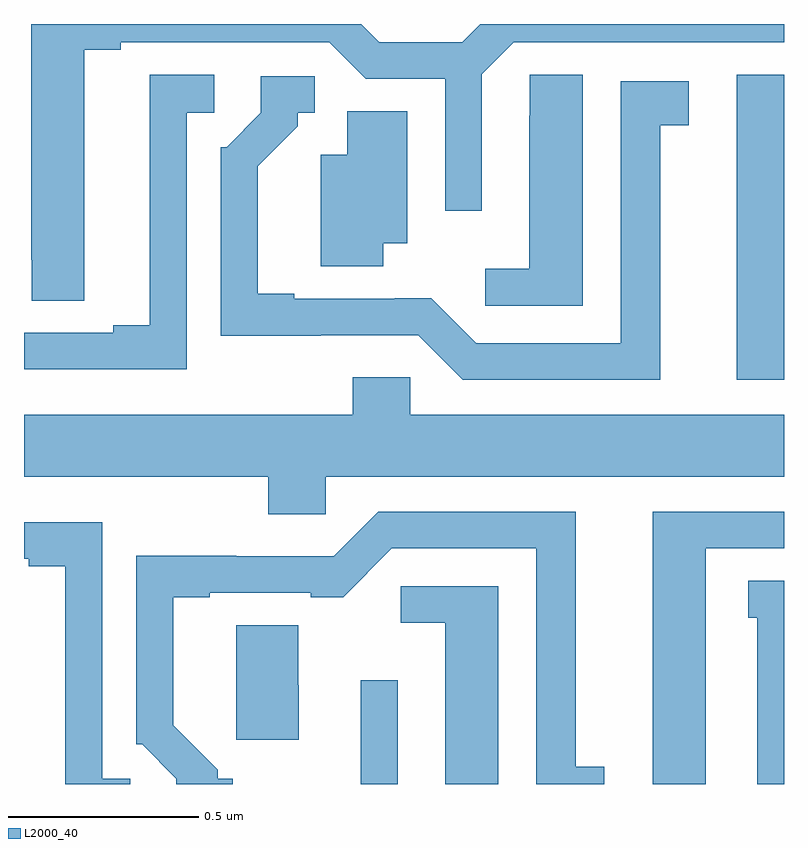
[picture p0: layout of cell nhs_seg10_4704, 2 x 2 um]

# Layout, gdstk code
import gdstk
lib = gdstk.Library(unit=1e-6, precision=1e-09)
def R(c, l, rs):  # rectangles x0, y0, x1, y1
    for r in rs: c.add(gdstk.rectangle(r[:2], r[2:], *l))
def P(c, l, *ps):  # polygons
    for p in ps: c.add(gdstk.Polygon(p, *l))
L2000_40 = (2000, 40)

nhs_seg10_4704 = lib.new_cell('nhs_seg10_4704')
R(nhs_seg10_4704, L2000_40, [(169.886,1307.5,169.983,1307.773), (170.876,1308.564,171,1309.366)])
P(nhs_seg10_4704, L2000_40, [(169.159,1309.432),(169.255,1309.432),(169.255,1309.452),(169.803,1309.452),(169.899,1309.356),(170.109,1309.356),(170.109,1309.008),(170.205,1309.008),(170.205,1309.368),(170.289,1309.452),(171,1309.452),(171,1309.5),(170.201,1309.5),(170.153,1309.452),(169.935,1309.452),(169.887,1309.5),(169.019,1309.5),(169.019,1308.88),(169.02,1308.88),(169.02,1308.772),(169.159,1308.772)],
  [(169.428,1309.266),(169.501,1309.266),(169.501,1309.367),(169.331,1309.367),(169.331,1308.707),(169.235,1308.707),(169.235,1308.687),(169,1308.687),(169,1308.591),(169.428,1308.591)],
  [(170.47,1309.367),(170.331,1309.367),(170.331,1309.259),(170.33,1309.259),(170.33,1308.856),(170.214,1308.856),(170.214,1308.759),(170.47,1308.759)],
  [(170.674,1309.234),(170.749,1309.234),(170.749,1309.35),(170.57,1309.35),(170.57,1308.66),(170.19,1308.66),(170.072,1308.778),(169.976,1308.778),(169.976,1308.777),(169.711,1308.777),(169.711,1308.79),(169.615,1308.79),(169.615,1309.126),(169.72,1309.231),(169.72,1309.266),(169.765,1309.266),(169.765,1309.362),(169.623,1309.362),(169.623,1309.266),(169.533,1309.176),(169.518,1309.176),(169.518,1308.68),(169.781,1308.68),(169.781,1308.681),(170.037,1308.681),(170.154,1308.564),(170.674,1308.564)],
  [(169.945,1308.923),(170.008,1308.923),(170.008,1309.271),(169.85,1309.271),(169.85,1309.156),(169.781,1309.156),(169.781,1308.862),(169.945,1308.862)],
  [(169.794,1308.308),(171,1308.308),(171,1308.472),(170.016,1308.472),(170.016,1308.57),(169.865,1308.57),(169.865,1308.472),(169,1308.472),(169,1308.308),(169.643,1308.308),(169.643,1308.21),(169.794,1308.21)],
  [(170.794,1308.12),(171,1308.12),(171,1308.216),(170.654,1308.216),(170.654,1307.5),(170.794,1307.5)],
  [(169.549,1307.514),(169.51,1307.514),(169.51,1307.538),(169.393,1307.654),(169.393,1307.991),(169.489,1307.991),(169.489,1308.003),(169.754,1308.003),(169.754,1307.992),(169.84,1307.992),(169.968,1308.12),(170.348,1308.12),(170.348,1307.5),(170.527,1307.5),(170.527,1307.546),(170.452,1307.546),(170.452,1308.216),(169.932,1308.216),(169.815,1308.099),(169.559,1308.099),(169.559,1308.101),(169.296,1308.101),(169.296,1307.604),(169.311,1307.604),(169.401,1307.514),(169.401,1307.5),(169.549,1307.5)],
  [(169.279,1307.514),(169.206,1307.514),(169.206,1308.189),(169,1308.189),(169,1308.093),(169.013,1308.093),(169.013,1308.073),(169.109,1308.073),(169.109,1307.5),(169.279,1307.5)],
  [(171,1308.035),(170.906,1308.035),(170.906,1307.937),(170.93,1307.937),(170.93,1307.5),(171,1307.5)],
  [(170.248,1308.021),(169.992,1308.021),(169.992,1307.924),(170.108,1307.924),(170.108,1307.521),(170.109,1307.521),(170.109,1307.5),(170.248,1307.5)],
  [(169.723,1307.76),(169.722,1307.76),(169.722,1307.918),(169.559,1307.918),(169.559,1307.616),(169.723,1307.616)])

lib.write_gds('nhs_seg10_4704.gds')
